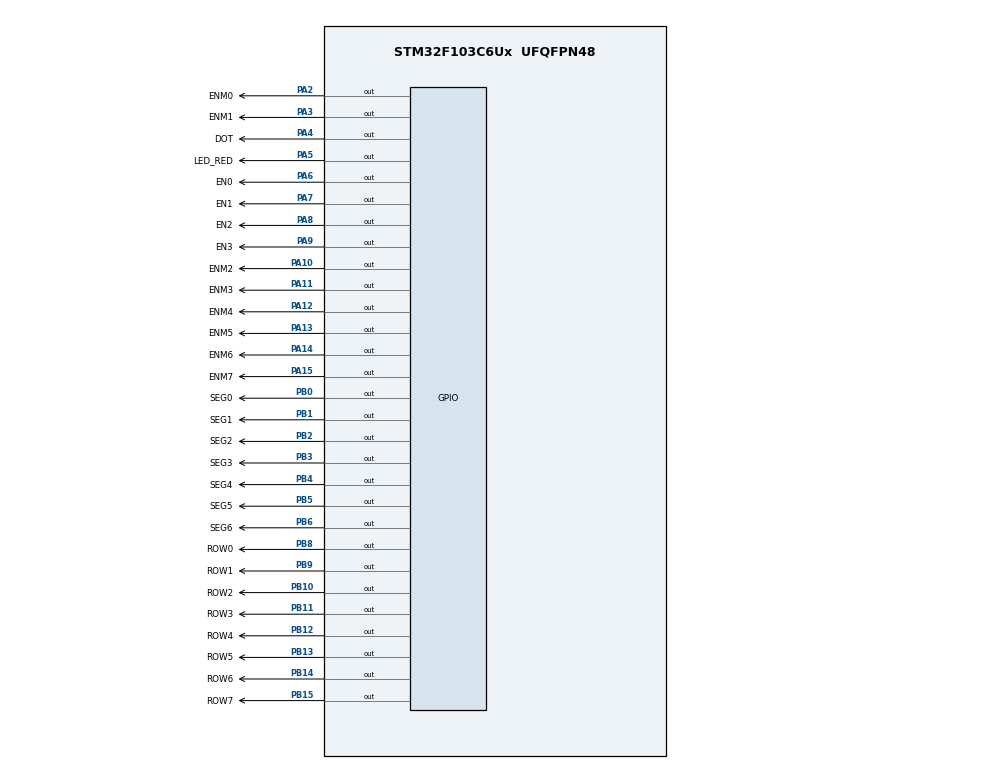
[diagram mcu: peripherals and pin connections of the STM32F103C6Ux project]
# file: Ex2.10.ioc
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Mcu.Family=STM32F1
Mcu.Name=STM32F103C6Ux
Mcu.Package=UFQFPN48
NVIC.PriorityGroup=NVIC_PRIORITYGROUP_4
NVIC.TIM2_IRQn=true\:0\:0\:false\:false\:true\:true\:true
PA10.GPIO_Label=ENM2
PA10.Signal=GPIO_Output
PA11.GPIO_Label=ENM3
PA11.Signal=GPIO_Output
PA12.GPIO_Label=ENM4
PA12.Signal=GPIO_Output
PA13.GPIO_Label=ENM5
PA13.Signal=GPIO_Output
PA14.GPIO_Label=ENM6
PA14.Signal=GPIO_Output
PA15.GPIO_Label=ENM7
PA15.Signal=GPIO_Output
PA2.GPIO_Label=ENM0
PA2.Signal=GPIO_Output
PA3.GPIO_Label=ENM1
PA3.Signal=GPIO_Output
PA4.GPIO_Label=DOT
PA4.Signal=GPIO_Output
PA5.GPIO_Label=LED_RED
PA5.Signal=GPIO_Output
PA6.GPIO_Label=EN0
PA6.Signal=GPIO_Output
PA7.GPIO_Label=EN1
PA7.Signal=GPIO_Output
PA8.GPIO_Label=EN2
PA8.Signal=GPIO_Output
PA9.GPIO_Label=EN3
PA9.Signal=GPIO_Output
PB0.GPIO_Label=SEG0
PB0.Signal=GPIO_Output
PB1.GPIO_Label=SEG1
PB1.Signal=GPIO_Output
PB10.GPIO_Label=ROW2
PB10.Signal=GPIO_Output
PB11.GPIO_Label=ROW3
PB11.Signal=GPIO_Output
PB12.GPIO_Label=ROW4
PB12.Signal=GPIO_Output
PB13.GPIO_Label=ROW5
PB13.Signal=GPIO_Output
PB14.GPIO_Label=ROW6
PB14.Signal=GPIO_Output
PB15.GPIO_Label=ROW7
PB15.Signal=GPIO_Output
PB2.GPIO_Label=SEG2
PB2.Signal=GPIO_Output
PB3.GPIO_Label=SEG3
PB3.Signal=GPIO_Output
PB4.GPIO_Label=SEG4
PB4.Signal=GPIO_Output
PB5.GPIO_Label=SEG5
PB5.Signal=GPIO_Output
PB6.GPIO_Label=SEG6
PB6.Signal=GPIO_Output
PB8.GPIO_Label=ROW0
PB8.Signal=GPIO_Output
PB9.GPIO_Label=ROW1
PB9.Signal=GPIO_Output
ProjectManager.HeapSize=0x200
ProjectManager.StackSize=0x400
ProjectManager.TargetToolchain=STM32CubeIDE
RCC.APB1Freq_Value=8000000
RCC.APB2Freq_Value=8000000
TIM2.Period=9
TIM2.Prescaler=7999
VP_SYS_VS_ND.Mode=No_Debug
VP_TIM2_VS_ClockSourceINT.Mode=Internal
board=custom

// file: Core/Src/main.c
/* USER CODE BEGIN Header */
/**
  ******************************************************************************
  * @file           : main.c
  * @brief          : Main program body
  ******************************************************************************
  * @attention
  *
  * <h2><center>&copy; Copyright (c) 2022 STMicroelectronics.
  * All rights reserved.</center></h2>
  *
  * This software component is licensed by ST under BSD 3-Clause license,
  * the "License"; You may not use this file except in compliance with the
  * License. You may obtain a copy of the License at:
  *                        opensource.org/licenses/BSD-3-Clause
  *
  ******************************************************************************
  */
/* USER CODE END Header */
#include "main.h"

/* USER CODE BEGIN Includes */
#include "software_timer.h"
/* USER CODE END Includes */

TIM_HandleTypeDef htim2;

void SystemClock_Config(void);
static void MX_GPIO_Init(void);
static void MX_TIM2_Init(void);

/* USER CODE BEGIN 0 */

const int MAX_LED_MATRIX = 8;

int index_led = 0;
int index_led_matrix = 0;
int matrix_shift_flag = 0;
uint8_t shift = 0;
uint8_t matrix_buffer[8] = {0xC7,0x93,0x39,0x01,0x01,0x39,0x39,0x39};
int led_buffer[4] = {1,2,3,4};

int hour = 15, minute = 8, second = 57;
int pinControll7SEG[4] = {EN0_Pin, EN1_Pin, EN2_Pin, EN3_Pin};

void clearLed() {
	HAL_GPIO_WritePin(GPIOA, EN0_Pin | EN1_Pin | EN2_Pin | EN3_Pin, SET);
}

void clearPin(int index) {
  HAL_GPIO_WritePin(GPIOA, pinControll7SEG[index], SET);
}

void enablePin(int index) {
	HAL_GPIO_WritePin(GPIOA, pinControll7SEG[index], RESET);
}

void display7SEG(int num) {
    char segNumber[10] = {0xC0, 0xF9, 0xA4, 0xB0, 0x99, 0x92, 0x82, 0xF8, 0x80, 0x90};
    for (int i = 0; i < 7; ++i) {
        HAL_GPIO_WritePin(GPIOB, GPIO_PIN_0 << i, (segNumber[num] >> i) & 1);
    }
}

void clearEnable(){
	HAL_GPIO_WritePin(EN0_GPIO_Port, EN0_Pin, 1);
	HAL_GPIO_WritePin(EN1_GPIO_Port, EN1_Pin, 1);
	HAL_GPIO_WritePin(EN2_GPIO_Port, EN2_Pin, 1);
	HAL_GPIO_WritePin(EN3_GPIO_Port, EN3_Pin, 1);
}

void update7SEG(int index) {
	clearLed();
	clearEnable();
	switch(index) {
	 // Display the first 7 SEG with led_buffer [0]
	  case 0: {
		  display7SEG(led_buffer[0]);
		  enablePin(0);
		  break;
	  }
	  // Display the first 7 SEG with led_buffer [1]
	  case 1: {
		  display7SEG(led_buffer[1]);
		  enablePin(1);
		  break;
	  }
	  // Display the first 7 SEG with led_buffer [2]
	  case 2: {
		  display7SEG(led_buffer[2]);
		  enablePin(2);
		  break;
	  }
	  // Display the first 7 SEG with led_buffer [3]
	  case 3: {
		  display7SEG(led_buffer[3]);
		  enablePin(3);
		  break;
	  }
	}
}

void updateClockBuffer() {
    led_buffer[0] = hour / 10;
    led_buffer[1] = hour % 10;
    led_buffer[2] = minute / 10;
    led_buffer[3] = minute % 10;
}

void setCol(uint8_t val){
	HAL_GPIO_WritePin(ENM0_GPIO_Port, ENM0_Pin, ((val>>7)&0x01));
	HAL_GPIO_WritePin(ENM1_GPIO_Port, ENM1_Pin, ((val>>6)&0x01));
	HAL_GPIO_WritePin(ENM2_GPIO_Port, ENM2_Pin, ((val>>5)&0x01));
	HAL_GPIO_WritePin(ENM3_GPIO_Port, ENM3_Pin, ((val>>4)&0x01));
	HAL_GPIO_WritePin(ENM4_GPIO_Port, ENM4_Pin, ((val>>3)&0x01));
	HAL_GPIO_WritePin(ENM5_GPIO_Port, ENM5_Pin, ((val>>2)&0x01));
	HAL_GPIO_WritePin(ENM6_GPIO_Port, ENM6_Pin, ((val>>1)&0x01));
	HAL_GPIO_WritePin(ENM7_GPIO_Port, ENM7_Pin, ((val>>0)&0x01));
}

void setMatrix(void){
	HAL_GPIO_WritePin(ROW0_GPIO_Port, ROW0_Pin, SET);
	HAL_GPIO_WritePin(ROW1_GPIO_Port, ROW1_Pin, SET);
	HAL_GPIO_WritePin(ROW2_GPIO_Port, ROW2_Pin, SET);
	HAL_GPIO_WritePin(ROW3_GPIO_Port, ROW3_Pin, SET);
	HAL_GPIO_WritePin(ROW4_GPIO_Port, ROW4_Pin, SET);
	HAL_GPIO_WritePin(ROW5_GPIO_Port, ROW5_Pin, SET);
	HAL_GPIO_WritePin(ROW6_GPIO_Port, ROW6_Pin, SET);
	HAL_GPIO_WritePin(ROW7_GPIO_Port, ROW7_Pin, SET);
}

void updateLEDMatrix(uint8_t index, uint8_t shift){
	setMatrix();
	uint8_t matrix_buffer_shift = (matrix_buffer[index] << shift) | (matrix_buffer[index] >> (8-shift));
	switch (index){
	case 0:
		setCol(matrix_buffer_shift);
		HAL_GPIO_WritePin(ROW0_GPIO_Port, ROW0_Pin, RESET);
		break;
	case 1:
		setCol(matrix_buffer_shift);
		HAL_GPIO_WritePin(ROW1_GPIO_Port, ROW1_Pin, RESET);
		break;
	case 2:
		setCol(matrix_buffer_shift);
		HAL_GPIO_WritePin(ROW2_GPIO_Port, ROW2_Pin, RESET);
		break;
	case 3:
		setCol(matrix_buffer_shift);
		HAL_GPIO_WritePin(ROW3_GPIO_Port, ROW3_Pin, RESET);
		break;
	case 4:
		setCol(matrix_buffer_shift);
		HAL_GPIO_WritePin(ROW4_GPIO_Port, ROW4_Pin, RESET);
		break;
	case 5:
		setCol(matrix_buffer_shift);
		HAL_GPIO_WritePin(ROW5_GPIO_Port, ROW5_Pin, RESET);
		break;
	case 6:
		setCol(matrix_buffer_shift);
		HAL_GPIO_WritePin(ROW6_GPIO_Port, ROW6_Pin, RESET);
		break;
	case 7:
		setCol(matrix_buffer_shift);
		HAL_GPIO_WritePin(ROW7_GPIO_Port, ROW7_Pin, RESET);
		break;
	default:
		break;
	}
}
/* USER CODE END 0 */

int main(void)
{

  /* MCU Configuration--------------------------------------------------------*/

  /* Reset of all peripherals, Initializes the Flash interface and the Systick. */
  HAL_Init();

  /* Configure the system clock */
  SystemClock_Config();

  /* Initialize all configured peripherals */
  MX_GPIO_Init();
  MX_TIM2_Init();
  /* USER CODE BEGIN 2 */
  HAL_TIM_Base_Start_IT(&htim2);
  /* USER CODE END 2 */

  /* Infinite loop */
  /* USER CODE BEGIN WHILE */

  setTimer1(1000);
  setTimer2(50);
  setTimer3(1000);
  while (1)
  {
	  // LED BLINK AND DOT
	  if(timer1_flag == 1) {
		HAL_GPIO_TogglePin(LED_RED_GPIO_Port, LED_RED_Pin);
		HAL_GPIO_TogglePin(DOT_GPIO_Port, DOT_Pin);
		setTimer1(1000);
	  }
	  // UPDATE LED7SEG & LED MATRIX
	  if(timer2_flag == 1) {
		update7SEG(index_led);
		index_led++;
		if(index_led >= 4) index_led = 0;

		updateLEDMatrix(index_led_matrix, shift);
		index_led_matrix++;
		if(index_led_matrix >= 8) {
			index_led_matrix = 0;
			shift++;
			if(shift >= 8) shift = 0;
		}

		setTimer2(50);
	  }
	  // UPDATE TIME
	  if(timer3_flag == 1) {
		  second++;
		  if (second >= 60){
			  second = 0;
			  minute++;
		  }
		  if(minute >= 60){
			  minute = 0;
			  hour++;
		  }
		  if(hour >= 24){
			  hour = 0;
		  }
		  updateClockBuffer();
		  setTimer3(1000);
	  }
    /* USER CODE END WHILE */

  }
}

void SystemClock_Config(void)
{
  RCC_OscInitTypeDef RCC_OscInitStruct = {0};
  RCC_ClkInitTypeDef RCC_ClkInitStruct = {0};

  /** Initializes the RCC Oscillators according to the specified parameters
  * in the RCC_OscInitTypeDef structure.
  */
  RCC_OscInitStruct.OscillatorType = RCC_OSCILLATORTYPE_HSI;
  RCC_OscInitStruct.HSIState = RCC_HSI_ON;
  RCC_OscInitStruct.HSICalibrationValue = RCC_HSICALIBRATION_DEFAULT;
  RCC_OscInitStruct.PLL.PLLState = RCC_PLL_NONE;
  if (HAL_RCC_OscConfig(&RCC_OscInitStruct) != HAL_OK)
  {
    Error_Handler();
  }
  /** Initializes the CPU, AHB and APB buses clocks
  */
  RCC_ClkInitStruct.ClockType = RCC_CLOCKTYPE_HCLK|RCC_CLOCKTYPE_SYSCLK
                              |RCC_CLOCKTYPE_PCLK1|RCC_CLOCKTYPE_PCLK2;
  RCC_ClkInitStruct.SYSCLKSource = RCC_SYSCLKSOURCE_HSI;
  RCC_ClkInitStruct.AHBCLKDivider = RCC_SYSCLK_DIV1;
  RCC_ClkInitStruct.APB1CLKDivider = RCC_HCLK_DIV1;
  RCC_ClkInitStruct.APB2CLKDivider = RCC_HCLK_DIV1;

  if (HAL_RCC_ClockConfig(&RCC_ClkInitStruct, FLASH_LATENCY_0) != HAL_OK)
  {
    Error_Handler();
  }
}

static void MX_TIM2_Init(void)
{

  TIM_ClockConfigTypeDef sClockSourceConfig = {0};
  TIM_MasterConfigTypeDef sMasterConfig = {0};

  htim2.Instance = TIM2;
  htim2.Init.Prescaler = 7999;
  htim2.Init.CounterMode = TIM_COUNTERMODE_UP;
  htim2.Init.Period = 9;
  htim2.Init.ClockDivision = TIM_CLOCKDIVISION_DIV1;
  htim2.Init.AutoReloadPreload = TIM_AUTORELOAD_PRELOAD_DISABLE;
  if (HAL_TIM_Base_Init(&htim2) != HAL_OK)
  {
    Error_Handler();
  }
  sClockSourceConfig.ClockSource = TIM_CLOCKSOURCE_INTERNAL;
  if (HAL_TIM_ConfigClockSource(&htim2, &sClockSourceConfig) != HAL_OK)
  {
    Error_Handler();
  }
  sMasterConfig.MasterOutputTrigger = TIM_TRGO_RESET;
  sMasterConfig.MasterSlaveMode = TIM_MASTERSLAVEMODE_DISABLE;
  if (HAL_TIMEx_MasterConfigSynchronization(&htim2, &sMasterConfig) != HAL_OK)
  {
    Error_Handler();
  }

}

static void MX_GPIO_Init(void)
{
  GPIO_InitTypeDef GPIO_InitStruct = {0};

  /* GPIO Ports Clock Enable */
  __HAL_RCC_GPIOA_CLK_ENABLE();
  __HAL_RCC_GPIOB_CLK_ENABLE();

  /*Configure GPIO pin Output Level */
  HAL_GPIO_WritePin(GPIOA, ENM0_Pin|ENM1_Pin|DOT_Pin|LED_RED_Pin
                          |EN0_Pin|EN1_Pin|EN2_Pin|EN3_Pin
                          |ENM2_Pin|ENM3_Pin|ENM4_Pin|ENM5_Pin
                          |ENM6_Pin|ENM7_Pin, GPIO_PIN_RESET);

  /*Configure GPIO pin Output Level */
  HAL_GPIO_WritePin(GPIOB, SEG0_Pin|SEG1_Pin|SEG2_Pin|ROW2_Pin
                          |ROW3_Pin|ROW4_Pin|ROW5_Pin|ROW6_Pin
                          |ROW7_Pin|SEG3_Pin|SEG4_Pin|SEG5_Pin
                          |SEG6_Pin|ROW0_Pin|ROW1_Pin, GPIO_PIN_RESET);

  /*Configure GPIO pins : ENM0_Pin ENM1_Pin DOT_Pin LED_RED_Pin
                           EN0_Pin EN1_Pin EN2_Pin EN3_Pin
                           ENM2_Pin ENM3_Pin ENM4_Pin ENM5_Pin
                           ENM6_Pin ENM7_Pin */
  GPIO_InitStruct.Pin = ENM0_Pin|ENM1_Pin|DOT_Pin|LED_RED_Pin
                          |EN0_Pin|EN1_Pin|EN2_Pin|EN3_Pin
                          |ENM2_Pin|ENM3_Pin|ENM4_Pin|ENM5_Pin
                          |ENM6_Pin|ENM7_Pin;
  GPIO_InitStruct.Mode = GPIO_MODE_OUTPUT_PP;
  GPIO_InitStruct.Pull = GPIO_NOPULL;
  GPIO_InitStruct.Speed = GPIO_SPEED_FREQ_LOW;
  HAL_GPIO_Init(GPIOA, &GPIO_InitStruct);

  /*Configure GPIO pins : SEG0_Pin SEG1_Pin SEG2_Pin ROW2_Pin
                           ROW3_Pin ROW4_Pin ROW5_Pin ROW6_Pin
                           ROW7_Pin SEG3_Pin SEG4_Pin SEG5_Pin
                           SEG6_Pin ROW0_Pin ROW1_Pin */
  GPIO_InitStruct.Pin = SEG0_Pin|SEG1_Pin|SEG2_Pin|ROW2_Pin
                          |ROW3_Pin|ROW4_Pin|ROW5_Pin|ROW6_Pin
                          |ROW7_Pin|SEG3_Pin|SEG4_Pin|SEG5_Pin
                          |SEG6_Pin|ROW0_Pin|ROW1_Pin;
  GPIO_InitStruct.Mode = GPIO_MODE_OUTPUT_PP;
  GPIO_InitStruct.Pull = GPIO_NOPULL;
  GPIO_InitStruct.Speed = GPIO_SPEED_FREQ_LOW;
  HAL_GPIO_Init(GPIOB, &GPIO_InitStruct);

}

/* USER CODE BEGIN 4 */
void HAL_TIM_PeriodElapsedCallback(TIM_HandleTypeDef *htim)
{
	timerRun();
}
/* USER CODE END 4 */

void Error_Handler(void)
{
  __disable_irq();
  while (1)
  {
  }
}

/************************ (C) COPYRIGHT STMicroelectronics *****END OF FILE****/
